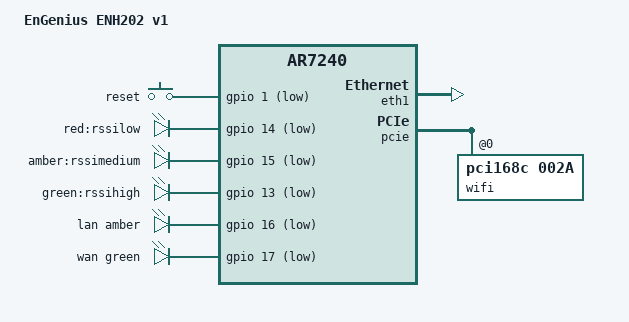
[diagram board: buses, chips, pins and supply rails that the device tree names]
// SPDX-License-Identifier: GPL-2.0-or-later OR MIT

#include "ar7240.dtsi"
#include "ar724x_senao_loader-64k.dtsi"

#include <dt-bindings/gpio/gpio.h>
#include <dt-bindings/input/input.h>
#include <dt-bindings/leds/common.h>

/ {
	compatible = "engenius,enh202-v1", "qca,ar7240";
	model = "EnGenius ENH202 v1";

	aliases {
		led-boot = &led_rssihigh;
		led-failsafe = &led_rssihigh;
		led-running = &led_rssihigh;
		led-upgrade = &led_rssihigh;
	};

	keys {
		compatible = "gpio-keys";

		reset {
			label = "reset";
			linux,code = <KEY_RESTART>;
			gpios = <&gpio 1 GPIO_ACTIVE_LOW>;
			debounce-interval = <60>;
		};
	};

	leds {
		compatible = "gpio-leds";

		pinctrl-names = "default";
		pinctrl-0 = <&jtag_disable_pins &switch_led_disable_pins &clks_disable_pins>;

		rssilow {
			label = "red:rssilow";
			gpios = <&gpio 14 GPIO_ACTIVE_LOW>;
		};

		rssimedium {
			label = "amber:rssimedium";
			gpios = <&gpio 15 GPIO_ACTIVE_LOW>;
		};

		led_rssihigh: rssihigh {
			label = "green:rssihigh";
			gpios = <&gpio 13 GPIO_ACTIVE_LOW>;
		};

		lan {
			function = LED_FUNCTION_LAN;
			color = <LED_COLOR_ID_AMBER>;
			gpios = <&gpio 16 GPIO_ACTIVE_LOW>;
		};

		wan {
			function = LED_FUNCTION_WAN;
			color = <LED_COLOR_ID_GREEN>;
			gpios = <&gpio 17 GPIO_ACTIVE_LOW>;
		};
	};
};

&eth0 {
	nvmem-cells = <&macaddr_art_0>;
	nvmem-cell-names = "mac-address";
};

&eth1 {
	status = "okay";

	nvmem-cells = <&macaddr_art_0>;
	nvmem-cell-names = "mac-address";
};

&pcie {
	status = "okay";

	wifi@0,0 {
		compatible = "pci168c,002a";
		reg = <0x0000 0 0 0 0>;
		nvmem-cells = <&cal_art_1000>;
		nvmem-cell-names = "calibration";

		led {
			led-sources = <1>;
			led-active-low;
		};
	};
};

&art {
	nvmem-layout {
		compatible = "fixed-layout";
		#address-cells = <1>;
		#size-cells = <1>;

		macaddr_art_0: macaddr@0 {
			reg = <0x0 0x6>;
		};

		cal_art_1000: calibration@1000 {
			reg = <0x1000 0xeb8>;
		};
	};
};
